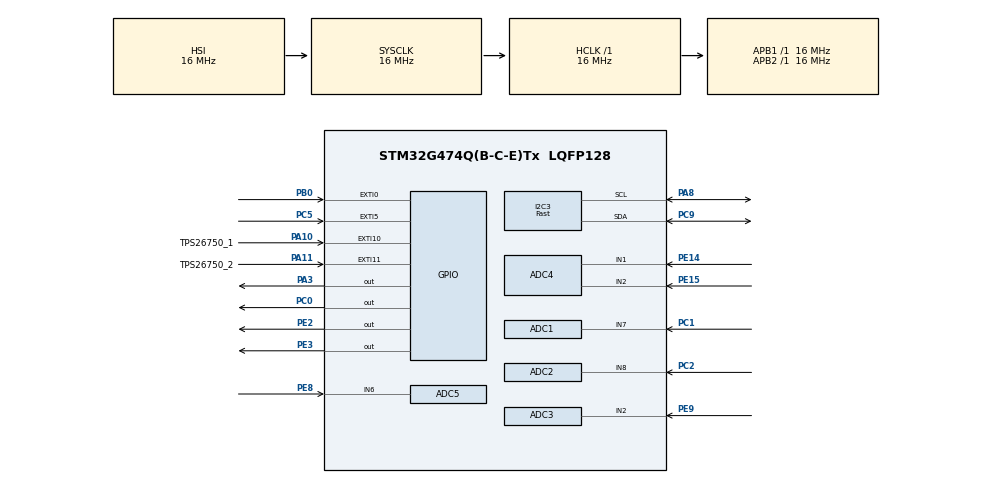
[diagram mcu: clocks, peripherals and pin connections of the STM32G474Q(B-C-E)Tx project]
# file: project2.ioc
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ADC1.Channel-0\#ChannelRegularConversion=ADC_CHANNEL_7
ADC1.NbrOfConversionFlag=1
ADC1.OffsetNumber-0\#ChannelRegularConversion=ADC_OFFSET_NONE
ADC1.Rank-0\#ChannelRegularConversion=1
ADC1.SamplingTime-0\#ChannelRegularConversion=ADC_SAMPLETIME_2CYCLES_5
ADC1.master=1
ADC2.Channel-0\#ChannelRegularConversion=ADC_CHANNEL_8
ADC2.NbrOfConversionFlag=1
ADC2.OffsetNumber-0\#ChannelRegularConversion=ADC_OFFSET_NONE
ADC2.Rank-0\#ChannelRegularConversion=1
ADC2.SamplingTime-0\#ChannelRegularConversion=ADC_SAMPLETIME_2CYCLES_5
ADC3.Channel-0\#ChannelRegularConversion=ADC_CHANNEL_2
ADC3.NbrOfConversionFlag=1
ADC3.OffsetNumber-0\#ChannelRegularConversion=ADC_OFFSET_NONE
ADC3.Rank-0\#ChannelRegularConversion=1
ADC3.SamplingTime-0\#ChannelRegularConversion=ADC_SAMPLETIME_2CYCLES_5
ADC3.master=1
ADC4.Channel-2\#ChannelRegularConversion=ADC_CHANNEL_1
ADC4.NbrOfConversionFlag=1
ADC4.OffsetNumber-2\#ChannelRegularConversion=ADC_OFFSET_NONE
ADC4.Rank-2\#ChannelRegularConversion=1
ADC4.SamplingTime-2\#ChannelRegularConversion=ADC_SAMPLETIME_2CYCLES_5
ADC4.SingleDiff-2\#ChannelRegularConversion=ADC_DIFFERENTIAL_ENDED
ADC5.Channel-0\#ChannelRegularConversion=ADC_CHANNEL_6
ADC5.NbrOfConversionFlag=1
ADC5.OffsetNumber-0\#ChannelRegularConversion=ADC_OFFSET_NONE
ADC5.Rank-0\#ChannelRegularConversion=1
ADC5.SamplingTime-0\#ChannelRegularConversion=ADC_SAMPLETIME_2CYCLES_5
I2C3.I2C_Speed_Mode=I2C_Fast
I2C3.Timing=0x00300617
Mcu.Family=STM32G4
Mcu.Name=STM32G474Q(B-C-E)Tx
Mcu.Package=LQFP128
NVIC.EXTI0_IRQn=true\:0\:0\:false\:false\:true\:true\:true\:true
NVIC.EXTI15_10_IRQn=true\:0\:0\:false\:false\:true\:true\:true\:true
NVIC.EXTI9_5_IRQn=true\:0\:0\:false\:false\:true\:true\:true\:true
NVIC.PriorityGroup=NVIC_PRIORITYGROUP_4
PA10.GPIO_Label=TPS26750_1
PA10.GPIO_ModeDefaultEXTI=GPIO_MODE_IT_FALLING
PA10.GPIO_PuPd=GPIO_PULLUP
PA10.Signal=GPXTI10
PA11.GPIO_Label=TPS26750_2
PA11.GPIO_ModeDefaultEXTI=GPIO_MODE_IT_FALLING
PA11.GPIO_PuPd=GPIO_PULLUP
PA11.Signal=GPXTI11
PA13.Mode=Trace_Asynchronous_SW
PA13.Signal=SYS_JTMS-SWDIO
PA14.Mode=Trace_Asynchronous_SW
PA14.Signal=SYS_JTCK-SWCLK
PA3.Signal=GPIO_Output
PA8.Mode=I2C
PA8.Signal=I2C3_SCL
PB0.GPIO_ModeDefaultEXTI=GPIO_MODE_IT_FALLING
PB0.GPIO_PuPd=GPIO_PULLUP
PB0.Signal=GPXTI0
PB3.Mode=Trace_Asynchronous_SW
PB3.Signal=SYS_JTDO-SWO
PB8-BOOT0.Signal=EVENTOUT
PC0.Signal=GPIO_Output
PC1.Mode=IN7-Single-Ended
PC1.Signal=ADC1_IN7
PC2.Mode=IN8-Single-Ended
PC2.Signal=ADC2_IN8
PC5.GPIO_ModeDefaultEXTI=GPIO_MODE_IT_FALLING
PC5.GPIO_PuPd=GPIO_PULLUP
PC5.Signal=GPXTI5
PC9.Mode=I2C
PC9.Signal=I2C3_SDA
PE14.Mode=IN1-Differential
PE14.Signal=ADC4_IN1
PE15.Mode=IN1-Differential
PE15.Signal=ADC4_IN2
PE2.Signal=GPIO_Output
PE3.Signal=GPIO_Output
PE8.Mode=IN6-Single-Ended
PE8.Signal=ADC5_IN6
PE9.Mode=IN2-Single-Ended
PE9.Signal=ADC3_IN2
PF0-OSC_IN.Mode=HSE-External-Oscillator
PF0-OSC_IN.Signal=RCC_OSC_IN
PF1-OSC_OUT.Mode=HSE-External-Oscillator
PF1-OSC_OUT.Signal=RCC_OSC_OUT
PG10-NRST.Signal=EVENTOUT
ProjectManager.HeapSize=0x200
ProjectManager.StackSize=0x400
ProjectManager.TargetToolchain=STM32CubeIDE
RCC.ADC12Freq_Value=16000000
RCC.ADC345Freq_Value=16000000
RCC.AHBFreq_Value=16000000
RCC.APB1Freq_Value=16000000
RCC.APB1TimFreq_Value=16000000
RCC.APB2Freq_Value=16000000
RCC.APB2TimFreq_Value=16000000
RCC.CortexFreq_Value=16000000
RCC.EXTERNAL_CLOCK_VALUE=12288000
RCC.HCLKFreq_Value=16000000
RCC.HSE_VALUE=8000000
RCC.HSI48_VALUE=48000000
RCC.HSI_VALUE=16000000
RCC.LSE_VALUE=32768
RCC.PLLN=18
RCC.SYSCLKFreq_VALUE=16000000
RCC.USBFreq_Value=144000000
RCC.VCOOutputFreq_Value=288000000
VP_SYS_VS_DBSignals.Mode=DisableDeadBatterySignals
board=custom

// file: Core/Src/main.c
/* USER CODE BEGIN Header */
/**
  ******************************************************************************
  * @file           : main.c
  * @brief          : Main program body
  ******************************************************************************
  * @attention
  *
  * Copyright (c) 2025 STMicroelectronics.
  * All rights reserved.
  *
  * This software is licensed under terms that can be found in the LICENSE file
  * in the root directory of this software component.
  * If no LICENSE file comes with this software, it is provided AS-IS.
  *
  ******************************************************************************
  */
/* USER CODE END Header */
#include "main.h"

/* USER CODE BEGIN Includes */
#include "stdio.h"              // For printf
#include "stm32g4xx_hal.h"      // For HAL functions
#include <stdbool.h>            // For boolean type
#include "TPS_low_reg_bin.h"    // For TPS26750 patch data
#include <string.h>             // For memcpy
#include <stdarg.h>             // For va_list, va_start, va_end
#include "pd_handler.h"         // For PD handling functions
#include <stdint.h>             // For uint8_t, uint32_t types

/* USER CODE END Includes */

/* USER CODE BEGIN PTD */
extern const char tps25750x_lowRegion_i2c_array[];  // TPS26750 patch data
extern int gSizeLowRegionArray;                     // Size of patch data array
/* USER CODE END PTD */

ADC_HandleTypeDef hadc1;
ADC_HandleTypeDef hadc2;
ADC_HandleTypeDef hadc3;
ADC_HandleTypeDef hadc4;
ADC_HandleTypeDef hadc5;

I2C_HandleTypeDef hi2c3;

/* USER CODE BEGIN PV */

/* Buffer for I2C data */
uint8_t i2c_buf[2];

/* USER CODE END PV */

void SystemClock_Config(void);
static void MX_GPIO_Init(void);
static void MX_ADC4_Init(void);
static void MX_I2C3_Init(void);
static void MX_ADC1_Init(void);
static void MX_ADC2_Init(void);
static void MX_ADC3_Init(void);
static void MX_ADC5_Init(void);
/* USER CODE BEGIN PFP */

//swo initialization
void SWO_Init(void)
{
  CoreDebug->DEMCR |= CoreDebug_DEMCR_TRCENA_Msk;
  ITM->LAR  = 0xC5ACCE55;
  ITM->TCR  = ITM_TCR_ITMENA_Msk | ITM_TCR_TSENA_Msk | ITM_TCR_SYNCENA_Msk | ITM_TCR_TraceBusID_Msk;
  ITM->TER  = 1;
}

//swo printf function
int _write(int file, char *ptr, int len) {
    for (int i = 0; i < len; i++) {
        ITM_SendChar(*ptr++);
    }
    return len;
}

// I2C3 scan function
void I2C3_Scan(void)
{
    printf("Scanning I2C3...\r\n");

    for (uint8_t addr = 1; addr < 127; addr++)
    {
        uint8_t addr_8bit = addr << 1;  // STM32 HAL expects 8-bit address

        if (HAL_I2C_IsDeviceReady(&hi2c3, addr_8bit, 3, 100) == HAL_OK)
        {
            printf("Found device at 0x%02X (8-bit: 0x%02X)\r\n", addr, addr_8bit);
        }
    }

    printf("Scan complete.\r\n");
}

/* USER CODE END PFP */

/* USER CODE BEGIN 0 */
// Print TX Source PDOs from register 0x32
// shows what PDOs are available for the sink to choose from
void print_tx_source_pdos(uint8_t pdAddr)
{
    uint8_t dev = pdAddr << 1;
    uint8_t  cmd = 23;
    uint8_t  raw[1 + 23]; // [0]=length prefix, [1..23]=payload
    uint8_t* d = &raw[1]; // d[0]..d[22]

    // 1) Ask for 23 bytes
    HAL_I2C_Mem_Write(&hi2c3, dev, 0x32,
                      I2C_MEMADD_SIZE_8BIT,
                      &cmd, 1, HAL_MAX_DELAY);

    // 2) Read back prefix + 23 bytes
    HAL_I2C_Mem_Read(&hi2c3, dev, 0x32,
                     I2C_MEMADD_SIZE_8BIT,
                     raw, sizeof(raw), HAL_MAX_DELAY);

    // 3) Decode Number Valid PDOs = bits 2..0 of byte#1
    uint8_t num_pdos = d[0] & 0x07;
    printf("TX Source: %u valid PDO(s)\n", num_pdos);

    // 4) Extract & print PDO1–PDO5 (each 4 bytes, little-endian)
    for (int i = 0; i < 5; i++) {
        // Each PDO_i lives in bits [24+32*(i) … 55+32*(i)] ⇒ raw bytes d[3+4*i]..d[6+4*i]
        uint32_t pdo = (uint32_t)d[3 + 4*i]
                     | (uint32_t)d[4 + 4*i] << 8
                     | (uint32_t)d[5 + 4*i] << 16
                     | (uint32_t)d[6 + 4*i] << 24;
        printf("  PDO #%d = 0x%08lX\n", i+1, (unsigned long)pdo);
    }
}

/* ---------------------------------------------------------------------------*/
// Print active PDO contract (48 bits) from register 0x34
// for debugging purposes
void print_active_pdo_contract(uint8_t pdAddr)
{
    uint8_t  dev = pdAddr << 1;
    uint8_t  cmd = 6;          // 6 data bytes (bits 47:0)
    uint8_t  raw[7];           // [0]=length prefix, [1..6]=data bytes
    uint64_t reg = 0;

    // 1) send length prefix
    HAL_I2C_Mem_Write(&hi2c3, dev, 0x34, I2C_MEMADD_SIZE_8BIT, &cmd, 1, HAL_MAX_DELAY);

    // 2) read back prefix + 6 data bytes
    HAL_I2C_Mem_Read(&hi2c3, dev, 0x34, I2C_MEMADD_SIZE_8BIT, raw, 7, HAL_MAX_DELAY);

    // 3) assemble into a 48-bit (in a 64-bit) register value
    for (int i = 0; i < 6; i++) {
        reg |= (uint64_t)raw[1 + i] << (8 * i);
    }

    // 4) extract fields
    uint16_t first_pdo_ctrl = (reg >> 32) & 0x03FF;         // bits 41:32
    uint32_t active_pdo     = (uint32_t)(reg & 0xFFFFFFFF); // bits 31:0

    // 5) print
    printf("Active PDO Contract @0x34:\n");
    printf("  First PDO Control Bits = 0x%03X  (%u)\n", first_pdo_ctrl, first_pdo_ctrl);
    printf("  Active PDO = 0x%08lX\n",(unsigned long)active_pdo);
}
/* ---------------------------------------------------------------------------*/
//for masking interrupts in INT_MASK1 register (11 bytes - prefix)
//used for debugging purposes
void TPS26750_MaskInterrupts(uint8_t pdAddr)
{
    uint8_t devAddr = pdAddr << 1;

    // INT_MASK1 is 88 bits (11 bytes) long + 1 prefix byte;
    uint8_t data[12] = { 0 };
    data[0] = 11;                // total mask-bytes to follow
    data[1] = (1U << 3);         // enable interrupt bit 3  (Plug Insert/Removal)
    data[2] = (1U << (13 - 8));  // enable interrupt bit 13 (New Contract as Provider)
    data[6] = (1U << (42 - 40)); // enable interrupt bit 42 (Sink Transition Completed)

    // Write INT_MASK1 (offset = 0x16)
    HAL_I2C_Mem_Write(&hi2c3, devAddr,0x16,I2C_MEMADD_SIZE_8BIT,data,sizeof(data),100);
}
/* ---------------------------------------------------------------------------*/
// Clear all bits in INT_EVENT1 register (11 bytes - prefix)
void clear_all_INT_EVENT1_bits(uint8_t i2c_addr)
{
    uint8_t buf[12];
    buf[0] = 11;  // Length prefix: 11 data bytes to follow

    // Set all bits to 1 — this clears all events in INT_EVENT1
    for (int i = 1; i <= 11; ++i) {
        buf[i] = 0xFF;
    }

    HAL_I2C_Mem_Write(&hi2c3, i2c_addr << 1, 0x18, I2C_MEMADD_SIZE_8BIT, buf, sizeof(buf), 100);
	printf("Cleared all INT_EVENT1 bits for device 0x%02X\n", i2c_addr);

}
/* ---------------------------------------------------------------------------*/
// Print raw bits of INT_EVENT1 register (11 bytes - prefix)
//used for debugging purposes
void print_INT_EVENT1_raw_bits(const uint8_t bits_with_prefix[11])
{
    printf("INT_EVENT1 bits: ");
    const uint8_t *bits = &bits_with_prefix[1];  // Skip the first byte (length prefix)
    for (int byte = 10; byte >= 0; --byte) {
        for (int bit = 7; bit >= 0; --bit) {
            printf("%c", (bits[byte] & (1 << bit)) ? '1' : '0');
        }
    }
    printf("\n");
}

/* ---------------------------------------------------------------------------*/
// Interrupt handler for USB events
// This function is called when an interrupt occurs on GPIO pins 10 or 11
void HAL_GPIO_EXTI_Callback(uint16_t GPIO_Pin)
{

    uint8_t buf[5];           // For writing length
    uint8_t raw[5];           // Includes prefix + 4 data bytes
    uint8_t data[4];          // Final parsed register data
    uint8_t int_event1_raw[12]; // 1 prefix + 11 bytes data
    uint32_t int_event1 = 0;
    uint32_t power_status = 0;
    //printf("EXTI fired: GPIO_Pin = %u\n", GPIO_Pin);

    if (GPIO_Pin == GPIO_PIN_10)
    {
    	//handle_pd1_event();
    	// Read INT_EVENT1_RAW (0x14), 11 bytes + prefix
		buf[0] = 11;
		HAL_I2C_Mem_Write(&hi2c3, 0x21 << 1, 0x14, I2C_MEMADD_SIZE_8BIT, buf, 1, 100);
		HAL_I2C_Mem_Read(&hi2c3, 0x21 << 1, 0x14, I2C_MEMADD_SIZE_8BIT, int_event1_raw, 12, 100);
		print_INT_EVENT1_raw_bits(&int_event1_raw[1]);
		//read_pd_hard_reset_reason(0x23);  // For TPS26750_2

		// Read INT_EVENT1 (0x14)
		buf[0] = 4;
		HAL_I2C_Mem_Write(&hi2c3, 0x21 << 1, 0x14, I2C_MEMADD_SIZE_8BIT, buf, 1, 100);
		HAL_I2C_Mem_Read(&hi2c3, 0x21 << 1, 0x14, I2C_MEMADD_SIZE_8BIT, raw, 5, 100);
		memcpy(data, &raw[1], 4);
		int_event1 = data[0] | (data[1] << 8) | (data[2] << 16) | (data[3] << 24);

		// Read STATUS (0x1A)
		buf[0] = 4;
		HAL_I2C_Mem_Write(&hi2c3, 0x21 << 1, 0x1A, I2C_MEMADD_SIZE_8BIT, buf, 1, 100);
		HAL_I2C_Mem_Read(&hi2c3, 0x21 << 1, 0x1A, I2C_MEMADD_SIZE_8BIT, raw, 5, 100);
		memcpy(data, &raw[1], 4);
		power_status = data[0] | (data[1] << 8) | (data[2] << 16) | (data[3] << 24);

		if ((int_event1 & (1 << 5))||(power_status & (1 << 0)))
		{
			printf("TPS26750_1: Sink Transition completed\n");
			handle_pd1_event();
			clear_all_INT_EVENT1_bits(0x21);
		}
		else if ((data[0] & 0x01) == 0)
		{

			printf("TPS26750_1: Plug Disconnected\n");
			uint8_t reg06;
			HAL_I2C_Mem_Read(&hi2c3, 0x75 << 1, 0x06, I2C_MEMADD_SIZE_8BIT, &reg06, 1, 100);
			reg06 &= ~0x80;
			HAL_I2C_Mem_Write(&hi2c3, 0x75 << 1, 0x06, I2C_MEMADD_SIZE_8BIT, &reg06, 1, 100);
			clear_all_INT_EVENT1_bits(0x21);
		}

    }
    else if (GPIO_Pin == GPIO_PIN_11)
    {
    	//handle_pd2_event();
        // Read INT_EVENT1_RAW (0x14), 11 bytes + prefix
        buf[0] = 11;
        HAL_I2C_Mem_Write(&hi2c3, 0x23 << 1, 0x14, I2C_MEMADD_SIZE_8BIT, buf, 1, 100);
        HAL_I2C_Mem_Read(&hi2c3, 0x23 << 1, 0x14, I2C_MEMADD_SIZE_8BIT, int_event1_raw, 12, 100);
        print_INT_EVENT1_raw_bits(&int_event1_raw[1]);
        //read_pd_hard_reset_reason(0x23);  // For TPS26750_2

        // Read INT_EVENT1 (0x14)
        buf[0] = 4;
        HAL_I2C_Mem_Write(&hi2c3, 0x23 << 1, 0x14, I2C_MEMADD_SIZE_8BIT, buf, 1, 100);
        HAL_I2C_Mem_Read(&hi2c3, 0x23 << 1, 0x14, I2C_MEMADD_SIZE_8BIT, raw, 5, 100);
        memcpy(data, &raw[1], 4);
        int_event1 = data[0] | (data[1] << 8) | (data[2] << 16) | (data[3] << 24);

        // Read STATUS (0x1A)
        buf[0] = 4;
        HAL_I2C_Mem_Write(&hi2c3, 0x23 << 1, 0x1A, I2C_MEMADD_SIZE_8BIT, buf, 1, 100);
        HAL_I2C_Mem_Read(&hi2c3, 0x23 << 1, 0x1A, I2C_MEMADD_SIZE_8BIT, raw, 5, 100);
        memcpy(data, &raw[1], 4);
        power_status = data[0] | (data[1] << 8) | (data[2] << 16) | (data[3] << 24);

        if ((int_event1 & (1 << 5)) || (power_status & (1 << 0)))
        {
            printf("TPS26750_2: Plug 2 connected\n");
            handle_pd2_event();
            clear_all_INT_EVENT1_bits(0x23);

        }
        else if ((data[0] & 0x01) == 0)
        {
            printf("TPS26750_2: Plug Disconnected\n");
            uint8_t reg06;
            HAL_I2C_Mem_Read(&hi2c3, 0x74 << 1, 0x06, I2C_MEMADD_SIZE_8BIT, &reg06, 1, 100);
            reg06 &= ~0x80;
            HAL_I2C_Mem_Write(&hi2c3, 0x74 << 1, 0x06, I2C_MEMADD_SIZE_8BIT, &reg06, 1, 100);
            clear_all_INT_EVENT1_bits(0x23);
        }
    }
}

/* ---------------------------------------------------------------------------*/
void mask_all_interrupts(uint8_t i2c_addr)
{
	 uint8_t buf[5];
	    buf[0] = 4;  // Length prefix
	    buf[1] = 0x00;
	    buf[2] = 0x00;
	    buf[3] = 0x00;
	    buf[4] = 0x00;

	    HAL_I2C_Mem_Write(&hi2c3, i2c_addr << 1, 0x16, I2C_MEMADD_SIZE_8BIT, buf, sizeof(buf), 100);
	   // printf("All interrupts masked on device 0x%02X\n", i2c_addr);

	    // Read INT_MASK1 to confirm it was set to 0
	    buf[0] = 4;
	    HAL_I2C_Mem_Write(&hi2c3, i2c_addr << 1, 0x16, I2C_MEMADD_SIZE_8BIT, buf, 1, 100);

	    uint8_t raw[5];
	    HAL_I2C_Mem_Read(&hi2c3, i2c_addr << 1, 0x16, I2C_MEMADD_SIZE_8BIT, raw, 5, 100);

	    //printf("INT_MASK1 for 0x%02X: %02X %02X %02X %02X\n", i2c_addr, raw[1], raw[2], raw[3], raw[4]);  // Skip prefix
	}
/* ---------------------------------------------------------------------------*/
void unmask_all_interrupts(uint8_t i2c_addr)
{
	 uint8_t buf[5];
	    buf[0] = 4;  // Length prefix
	    buf[1] = 0x01;
	    buf[2] = 0x01;
	    buf[3] = 0x01;
	    buf[4] = 0x01;

	    HAL_I2C_Mem_Write(&hi2c3, i2c_addr << 1, 0x16, I2C_MEMADD_SIZE_8BIT, buf, sizeof(buf), 100);
	    //printf("All interrupts masked on device 0x%02X\n", i2c_addr);

	    // Read INT_MASK1 to confirm it was set to 0
	    buf[0] = 4;
	    HAL_I2C_Mem_Write(&hi2c3, i2c_addr << 1, 0x16, I2C_MEMADD_SIZE_8BIT, buf, 1, 100);

	    uint8_t raw[5];
	    HAL_I2C_Mem_Read(&hi2c3, i2c_addr << 1, 0x16, I2C_MEMADD_SIZE_8BIT, raw, 5, 100);

	    //printf("INT_MASK1 for 0x%02X: %02X %02X %02X %02X\n",i2c_addr, raw[1], raw[2], raw[3], raw[4]);  // Skip prefix
	}
/* ---------------------------------------------------------------------------*/

void Read_TPS_Mode(uint8_t address)
{
    uint8_t mode[4] = {0};
    HAL_StatusTypeDef ret;

    printf("Reading MODE register from TPS at 0x%02X...\r\n", address);

    ret = HAL_I2C_Mem_Read(&hi2c3, (address << 1), 0x03, I2C_MEMADD_SIZE_8BIT, mode, 5, 100);

    if (ret == HAL_OK)
    {
        printf("TPS Mode = %c%c%c%c\r\n", mode[1], mode[2], mode[3], mode[4]);
    }
    else
    {
        printf("Failed to read MODE register at 0x%02X (I2C error)\r\n", address);
    }
}

/* ---------------------------------------------------------------------------*/

bool Upload_TPS26750_Patch(I2C_HandleTypeDef *hi2c, uint8_t dev7bitAddr, const uint8_t *patch_data, uint32_t patch_size)
{
    uint8_t devAddr = dev7bitAddr << 1; // 8-bit address
    uint8_t data1[7];
    uint8_t cmd1[5];
    uint32_t timeout_ms;
    uint8_t patch_slave_addr = 0x50 << 1; // 8-bit
    //uint32_t offset = 0;

    printf("[PATCH] Starting patch upload sequence for 0x%02X...\n", dev7bitAddr);

    // -------- Step 1: Start Patch Burst Mode --------
    data1[0] = 6;  // Length of following data
    data1[1] = (uint8_t)(patch_size & 0xFF);
    data1[2] = (uint8_t)((patch_size >> 8) & 0xFF);
    data1[3] = (uint8_t)((patch_size >> 16) & 0xFF);
    data1[4] = (uint8_t)((patch_size >> 24) & 0xFF);
    data1[5] = 0x50;   // Patch target address
    data1[6] = 0x64;   // 5 seconds timeout

    if (HAL_I2C_Mem_Write(hi2c, devAddr, 0x09, I2C_MEMADD_SIZE_8BIT, data1, sizeof(data1), HAL_MAX_DELAY) != HAL_OK)
    {
        printf("[PATCH] Failed writing DATA1\n");
        return false;
    }

    HAL_I2C_Mem_Read(hi2c, devAddr, 0x09, I2C_MEMADD_SIZE_8BIT, data1, sizeof(data1), HAL_MAX_DELAY);
    printf("[PATCH] DATA1 = %02X %02X %02X %02X %02X %02X %02X\n", data1[0], data1[1], data1[2], data1[3], data1[4], data1[5], data1[6]);

    cmd1[0] = 4;
    cmd1[1] = 'P';
    cmd1[2] = 'B';
    cmd1[3] = 'M';
    cmd1[4] = 's';
    if (HAL_I2C_Mem_Write(hi2c, devAddr, 0x08, I2C_MEMADD_SIZE_8BIT, cmd1, sizeof(cmd1), HAL_MAX_DELAY) != HAL_OK)
    {
        printf("[PATCH] Failed sending PBMs\n");
        return false;
    }

    HAL_I2C_Mem_Read(hi2c, devAddr, 0x08, I2C_MEMADD_SIZE_8BIT, cmd1, sizeof(cmd1), HAL_MAX_DELAY);
    printf("[PATCH] CMD1 = %02X %c%c%c%c\n", cmd1[0], cmd1[1], cmd1[2], cmd1[3], cmd1[4]);

    // -------- Step 2: Wait for Patch Start Status --------
    timeout_ms = 500;
    uint32_t elapsed = 0;
    uint8_t patch_status[7];
    do {
        HAL_I2C_Mem_Read(hi2c, devAddr, 0x09, I2C_MEMADD_SIZE_8BIT, patch_status, sizeof(patch_status), HAL_MAX_DELAY);
        printf("[PATCH] Output DATA1 = %02X %02X %02X %02X %02X %02X %02X\n", patch_status[0], patch_status[1], patch_status[2], patch_status[3], patch_status[4], patch_status[5], patch_status[6]);
        HAL_Delay(5);
        elapsed += 5;
    } while ((patch_status[1] != 0x00) && (elapsed < timeout_ms));

    if (patch_status[1] != 0x00)
    {
        printf("[ERROR] PatchStartStatus = 0x%02X\n", patch_status[1]);
        return false;
    }

    printf("[PATCH] PBMs acknowledged. Uploading patch to 0x50...\n");

    // -------- Step 3: Write Patch Data to 0x50 in 4 equal bursts --------
    #define TOTAL_BURSTS 4
    uint32_t chunk_size = patch_size / TOTAL_BURSTS;
    uint32_t offset = 0;

    for (int burst = 0; burst < TOTAL_BURSTS; burst++)
    {
        // On last burst, send all remaining data in case of rounding
        uint32_t this_chunk = (burst < TOTAL_BURSTS - 1) ? chunk_size : (patch_size - offset);

        if (HAL_I2C_Master_Transmit(hi2c, patch_slave_addr, (uint8_t *)(patch_data + offset), this_chunk, HAL_MAX_DELAY) != HAL_OK)
        {
            printf("[ERROR] Failed patch write (burst #%d at offset %lu)\n", burst + 1, (unsigned long)offset);
            printf("[ERROR] Sending PBMe...\n");
                    cmd1[0] = 4; cmd1[1] = 'P'; cmd1[2] = 'B'; cmd1[3] = 'M'; cmd1[4] = 'e';
                    HAL_I2C_Mem_Write(hi2c, devAddr, 0x08, I2C_MEMADD_SIZE_8BIT, cmd1, sizeof(cmd1), HAL_MAX_DELAY);
                    printf("[PATCH] PBMe sent, patch upload sequence stopped!\n");
                    HAL_I2C_Mem_Read(hi2c, devAddr, 0x09, I2C_MEMADD_SIZE_8BIT, data1, sizeof(data1), HAL_MAX_DELAY);
                    printf("[PATCH] DATA1 = %02X %02X %02X %02X %02X %02X %02X\n", data1[0], data1[1], data1[2], data1[3], data1[4], data1[5], data1[6]);
        }

        printf("[PATCH] Burst #%d sent: %lu bytes\n", burst + 1, (unsigned long)this_chunk);
        offset += this_chunk;

    }
    // -------- Step 3: Write Patch Data to 0x50 --------
    printf("[PATCH] Patch data written. Sending PBMc...\n");
    HAL_Delay(1);
    // -------- Step 4: Patch Burst Mode Complete (PBMc) --------
    cmd1[0] = 4; cmd1[1] = 'P'; cmd1[2] = 'B'; cmd1[3] = 'M'; cmd1[4] = 'c';
    if (HAL_I2C_Mem_Write(hi2c, devAddr, 0x08, I2C_MEMADD_SIZE_8BIT, cmd1, sizeof(cmd1), HAL_MAX_DELAY) != HAL_OK)
    {
        printf("[ERROR] Failed sending PBMc\n");
        return false;
    }

    elapsed = 0;
    do {
        HAL_I2C_Mem_Read(hi2c, devAddr, 0x08, I2C_MEMADD_SIZE_8BIT, cmd1, sizeof(cmd1), HAL_MAX_DELAY);
        printf("[PATCH] Output CMD1 = %02X %c%c%c%c\n", cmd1[0], cmd1[1], cmd1[2], cmd1[3], cmd1[4]);
        if (cmd1[1] == 0 && cmd1[2] == 0 && cmd1[3] == 0 && cmd1[4] == 0)
            break;
        HAL_Delay(20);
        elapsed += 20;
    } while (elapsed < timeout_ms);

    if (elapsed >= timeout_ms)
    {
        printf("[ERROR] PBMc timeout\n");
        return false;
    }

    //----------Step 5: Read data1 -------------------------

    HAL_I2C_Mem_Read(hi2c, devAddr, 0x09, I2C_MEMADD_SIZE_8BIT, data1, sizeof(data1), HAL_MAX_DELAY);
    printf("[PATCH] DATA1 = %02X %02X %02X %02X %02X %02X %02X\n", data1[0], data1[1], data1[2], data1[3], data1[4], data1[5], data1[6]);
    return true;
}

/* ---------------------------------------------------------------------------*/

/*
//TPS55288 fault interrupt
void HAL_GPIO_EXTI_Callback(uint16_t GPIO_Pin)
{
    uint8_t fault;
    uint8_t addr;
    const char* label;

    if (GPIO_Pin == GPIO_PIN_5)  // PC5 → TPS55288 at address 0x75
    {
        addr = 0x75 << 1;
        label = "TPS55288_1 (PC5)";
    }
    else if (GPIO_Pin == GPIO_PIN_0)  // PB0 → TPS55288 at address 0x74
    {
        addr = 0x74 << 1;
        label = "TPS55288_2 (PB0)";
    }
    else
    {
        return; // unknown pin, ignore
    }

    // Read latched fault status
    if (HAL_I2C_Mem_Read(&hi2c3, addr, 0x0D, I2C_MEMADD_SIZE_8BIT, &fault, 1, 100) != HAL_OK) {
        printf("❌ Failed to read fault status from %s\n", label);
        return;
    }

    printf("%s Fault Detected (0x0D): 0x%02X\n", label, fault);

    if (fault & (1 << 7)) printf(" → VOUT OVP\n");
    if (fault & (1 << 6)) printf(" → VOUT UVP\n");
    if (fault & (1 << 5)) printf(" → IOUT OCP\n");
    if (fault & (1 << 4)) printf(" → Thermal Shutdown\n");
    if (fault & (1 << 3)) printf(" → VIN UVP\n");
    if (fault & (1 << 2)) printf(" → VOUT < 0.3V\n");
    if (fault & (1 << 1)) printf(" → Startup Fault\n");

    // Optional: Clear latched fault bits
    uint8_t clear = 0x00;
    HAL_I2C_Mem_Write(&hi2c3, addr, 0x0D, I2C_MEMADD_SIZE_8BIT, &clear, 1, 100);
}
*/

/* ---------------------------------------------------------------------------*/

void read_and_print_INT_EVENT1(uint8_t i2c_addr)
{
    uint8_t buf[1] = {11};          // Request to read 11 data bytes
    uint8_t raw[12];                // 1 prefix + 11 data bytes
    uint8_t result[11];             // Final 11-byte register content

    // Write length prefix to register 0x14
    if (HAL_I2C_Mem_Write(&hi2c3, i2c_addr << 1, 0x14,
                          I2C_MEMADD_SIZE_8BIT, buf, 1, 100) != HAL_OK)
    {
        printf("Failed to write INT_EVENT1 read length to 0x%02X\n", i2c_addr);
        return;
    }

    // Read 1 prefix + 11 actual data bytes
    if (HAL_I2C_Mem_Read(&hi2c3, i2c_addr << 1, 0x14,
                         I2C_MEMADD_SIZE_8BIT, raw, 12, 100) != HAL_OK)
    {
        printf("Failed to read INT_EVENT1 from 0x%02X\n", i2c_addr);
        return;
    }

    memcpy(result, &raw[1], 11);  // Skip prefix byte

    // Print each byte as hex
    printf("INT_EVENT1 [0x14] from 0x%02X: ", i2c_addr);
    for (int i = 10; i >= 0; --i) {
        printf("%02X ", result[i]);
    }
    printf("\n");

    // Print full binary representation
    printf("Bits: ");
    for (int i = 10; i >= 0; --i) {
        for (int b = 7; b >= 0; --b) {
            printf("%c", (result[i] & (1 << b)) ? '1' : '0');
        }
    }
    printf("\n");
}
/* ---------------------------------------------------------------------------*/

/* USER CODE END 0 */

int main(void)
{

  /* MCU Configuration--------------------------------------------------------*/

  /* Reset of all peripherals, Initializes the Flash interface and the Systick. */
  HAL_Init();

  /* USER CODE BEGIN Init */
  SWO_Init();

  /* USER CODE END Init */

  /* Configure the system clock */
  SystemClock_Config();

  /* Initialize all configured peripherals */
  MX_GPIO_Init();
  MX_ADC4_Init();
  MX_I2C3_Init();
  MX_ADC1_Init();
  MX_ADC2_Init();
  MX_ADC3_Init();
  MX_ADC5_Init();
  /* USER CODE BEGIN 2 */
  HAL_Delay(10);
  //I2C3_Scan();

  Read_TPS_Mode(0x21);  // for first TPS
  Read_TPS_Mode(0x23);  // for second TPS
  read_and_print_INT_EVENT1(0x21);  // for TPS26750_1
  read_and_print_INT_EVENT1(0x23);  // for TPS26750_2
  Upload_TPS26750_Patch(&hi2c3, 0x21, (const uint8_t *)tps25750x_lowRegion_i2c_array, gSizeLowRegionArray);
  Upload_TPS26750_Patch(&hi2c3, 0x23, (const uint8_t *)tps25750x_lowRegion_i2c_array, gSizeLowRegionArray);
  HAL_Delay(10);
  Read_TPS_Mode(0x21);  // for first TPS
  Read_TPS_Mode(0x23);  // for second TPS
  //mask_all_interrupts(0x21);  // TPS26750_1
  //mask_all_interrupts(0x23);  // TPS26750_2
  //TPS26750_MaskInterrupts(0x21);
  //TPS26750_MaskInterrupts(0x23);
  clear_all_INT_EVENT1_bits(0x21);  // Clear for TPS26750_1
  clear_all_INT_EVENT1_bits(0x23);  // Clear for TPS26750_2
  //read_and_print_INT_EVENT1(0x21);  // for TPS26750_1
  //read_and_print_INT_EVENT1(0x23);  // for TPS26750_2
  //clear_all_INT_EVENT1_bits(0x21);  // Clear for TPS26750_1
  //clear_all_INT_EVENT1_bits(0x23);  // Clear for TPS26750_2
  print_tx_source_pdos(0x21);
  print_tx_source_pdos(0x23);

  /* USER CODE END 2 */

  /* Infinite loop */
   while (1)
  {
    HAL_Delay(1000);
  }
}

void SystemClock_Config(void)
{
  RCC_OscInitTypeDef RCC_OscInitStruct = {0};
  RCC_ClkInitTypeDef RCC_ClkInitStruct = {0};

  /** Configure the main internal regulator output voltage
  */
  HAL_PWREx_ControlVoltageScaling(PWR_REGULATOR_VOLTAGE_SCALE1);

  /** Initializes the RCC Oscillators according to the specified parameters
  * in the RCC_OscInitTypeDef structure.
  */
  RCC_OscInitStruct.OscillatorType = RCC_OSCILLATORTYPE_HSI;
  RCC_OscInitStruct.HSIState = RCC_HSI_ON;
  RCC_OscInitStruct.HSICalibrationValue = RCC_HSICALIBRATION_DEFAULT;
  RCC_OscInitStruct.PLL.PLLState = RCC_PLL_NONE;
  if (HAL_RCC_OscConfig(&RCC_OscInitStruct) != HAL_OK)
  {
    Error_Handler();
  }

  /** Initializes the CPU, AHB and APB buses clocks
  */
  RCC_ClkInitStruct.ClockType = RCC_CLOCKTYPE_HCLK|RCC_CLOCKTYPE_SYSCLK
                              |RCC_CLOCKTYPE_PCLK1|RCC_CLOCKTYPE_PCLK2;
  RCC_ClkInitStruct.SYSCLKSource = RCC_SYSCLKSOURCE_HSI;
  RCC_ClkInitStruct.AHBCLKDivider = RCC_SYSCLK_DIV1;
  RCC_ClkInitStruct.APB1CLKDivider = RCC_HCLK_DIV1;
  RCC_ClkInitStruct.APB2CLKDivider = RCC_HCLK_DIV1;

  if (HAL_RCC_ClockConfig(&RCC_ClkInitStruct, FLASH_LATENCY_0) != HAL_OK)
  {
    Error_Handler();
  }
}

static void MX_ADC1_Init(void)
{

  ADC_MultiModeTypeDef multimode = {0};
  ADC_ChannelConfTypeDef sConfig = {0};

  /** Common config
  */
  hadc1.Instance = ADC1;
  hadc1.Init.ClockPrescaler = ADC_CLOCK_SYNC_PCLK_DIV2;
  hadc1.Init.Resolution = ADC_RESOLUTION_12B;
  hadc1.Init.DataAlign = ADC_DATAALIGN_RIGHT;
  hadc1.Init.GainCompensation = 0;
  hadc1.Init.ScanConvMode = ADC_SCAN_DISABLE;
  hadc1.Init.EOCSelection = ADC_EOC_SINGLE_CONV;
  hadc1.Init.LowPowerAutoWait = DISABLE;
  hadc1.Init.ContinuousConvMode = DISABLE;
  hadc1.Init.NbrOfConversion = 1;
  hadc1.Init.DiscontinuousConvMode = DISABLE;
  hadc1.Init.ExternalTrigConv = ADC_SOFTWARE_START;
  hadc1.Init.ExternalTrigConvEdge = ADC_EXTERNALTRIGCONVEDGE_NONE;
  hadc1.Init.DMAContinuousRequests = DISABLE;
  hadc1.Init.Overrun = ADC_OVR_DATA_PRESERVED;
  hadc1.Init.OversamplingMode = DISABLE;
  if (HAL_ADC_Init(&hadc1) != HAL_OK)
  {
    Error_Handler();
  }

  /** Configure the ADC multi-mode
  */
  multimode.Mode = ADC_MODE_INDEPENDENT;
  if (HAL_ADCEx_MultiModeConfigChannel(&hadc1, &multimode) != HAL_OK)
  {
    Error_Handler();
  }

  /** Configure Regular Channel
  */
  sConfig.Channel = ADC_CHANNEL_7;
  sConfig.Rank = ADC_REGULAR_RANK_1;
  sConfig.SamplingTime = ADC_SAMPLETIME_2CYCLES_5;
  sConfig.SingleDiff = ADC_SINGLE_ENDED;
  sConfig.OffsetNumber = ADC_OFFSET_NONE;
  sConfig.Offset = 0;
  if (HAL_ADC_ConfigChannel(&hadc1, &sConfig) != HAL_OK)
  {
    Error_Handler();
  }

}

static void MX_ADC2_Init(void)
{

  ADC_ChannelConfTypeDef sConfig = {0};

  /** Common config
  */
  hadc2.Instance = ADC2;
  hadc2.Init.ClockPrescaler = ADC_CLOCK_SYNC_PCLK_DIV2;
  hadc2.Init.Resolution = ADC_RESOLUTION_12B;
  hadc2.Init.DataAlign = ADC_DATAALIGN_RIGHT;
  hadc2.Init.GainCompensation = 0;
  hadc2.Init.ScanConvMode = ADC_SCAN_DISABLE;
  hadc2.Init.EOCSelection = ADC_EOC_SINGLE_CONV;
  hadc2.Init.LowPowerAutoWait = DISABLE;
  hadc2.Init.ContinuousConvMode = DISABLE;
  hadc2.Init.NbrOfConversion = 1;
  hadc2.Init.DiscontinuousConvMode = DISABLE;
  hadc2.Init.ExternalTrigConv = ADC_SOFTWARE_START;
  hadc2.Init.ExternalTrigConvEdge = ADC_EXTERNALTRIGCONVEDGE_NONE;
  hadc2.Init.DMAContinuousRequests = DISABLE;
  hadc2.Init.Overrun = ADC_OVR_DATA_PRESERVED;
  hadc2.Init.OversamplingMode = DISABLE;
  if (HAL_ADC_Init(&hadc2) != HAL_OK)
  {
    Error_Handler();
  }

  /** Configure Regular Channel
  */
  sConfig.Channel = ADC_CHANNEL_8;
  sConfig.Rank = ADC_REGULAR_RANK_1;
  sConfig.SamplingTime = ADC_SAMPLETIME_2CYCLES_5;
  sConfig.SingleDiff = ADC_SINGLE_ENDED;
  sConfig.OffsetNumber = ADC_OFFSET_NONE;
  sConfig.Offset = 0;
  if (HAL_ADC_ConfigChannel(&hadc2, &sConfig) != HAL_OK)
  {
    Error_Handler();
  }

}

static void MX_ADC3_Init(void)
{

  ADC_MultiModeTypeDef multimode = {0};
  ADC_ChannelConfTypeDef sConfig = {0};

  /** Common config
  */
  hadc3.Instance = ADC3;
  hadc3.Init.ClockPrescaler = ADC_CLOCK_SYNC_PCLK_DIV2;
  hadc3.Init.Resolution = ADC_RESOLUTION_12B;
  hadc3.Init.DataAlign = ADC_DATAALIGN_RIGHT;
  hadc3.Init.GainCompensation = 0;
  hadc3.Init.ScanConvMode = ADC_SCAN_DISABLE;
  hadc3.Init.EOCSelection = ADC_EOC_SINGLE_CONV;
  hadc3.Init.LowPowerAutoWait = DISABLE;
  hadc3.Init.ContinuousConvMode = DISABLE;
  hadc3.Init.NbrOfConversion = 1;
  hadc3.Init.DiscontinuousConvMode = DISABLE;
  hadc3.Init.ExternalTrigConv = ADC_SOFTWARE_START;
  hadc3.Init.ExternalTrigConvEdge = ADC_EXTERNALTRIGCONVEDGE_NONE;
  hadc3.Init.DMAContinuousRequests = DISABLE;
  hadc3.Init.Overrun = ADC_OVR_DATA_PRESERVED;
  hadc3.Init.OversamplingMode = DISABLE;
  if (HAL_ADC_Init(&hadc3) != HAL_OK)
  {
    Error_Handler();
  }

  /** Configure the ADC multi-mode
  */
  multimode.Mode = ADC_MODE_INDEPENDENT;
  if (HAL_ADCEx_MultiModeConfigChannel(&hadc3, &multimode) != HAL_OK)
  {
    Error_Handler();
  }

  /** Configure Regular Channel
  */
  sConfig.Channel = ADC_CHANNEL_2;
  sConfig.Rank = ADC_REGULAR_RANK_1;
  sConfig.SamplingTime = ADC_SAMPLETIME_2CYCLES_5;
  sConfig.SingleDiff = ADC_SINGLE_ENDED;
  sConfig.OffsetNumber = ADC_OFFSET_NONE;
  sConfig.Offset = 0;
  if (HAL_ADC_ConfigChannel(&hadc3, &sConfig) != HAL_OK)
  {
    Error_Handler();
  }

}

static void MX_ADC4_Init(void)
{

  ADC_ChannelConfTypeDef sConfig = {0};

  /** Common config
  */
  hadc4.Instance = ADC4;
  hadc4.Init.ClockPrescaler = ADC_CLOCK_SYNC_PCLK_DIV2;
  hadc4.Init.Resolution = ADC_RESOLUTION_12B;
  hadc4.Init.DataAlign = ADC_DATAALIGN_RIGHT;
  hadc4.Init.GainCompensation = 0;
  hadc4.Init.ScanConvMode = ADC_SCAN_DISABLE;
  hadc4.Init.EOCSelection = ADC_EOC_SINGLE_CONV;
  hadc4.Init.LowPowerAutoWait = DISABLE;
  hadc4.Init.ContinuousConvMode = DISABLE;
  hadc4.Init.NbrOfConversion = 1;
  hadc4.Init.DiscontinuousConvMode = DISABLE;
  hadc4.Init.ExternalTrigConv = ADC_SOFTWARE_START;
  hadc4.Init.ExternalTrigConvEdge = ADC_EXTERNALTRIGCONVEDGE_NONE;
  hadc4.Init.DMAContinuousRequests = DISABLE;
  hadc4.Init.Overrun = ADC_OVR_DATA_PRESERVED;
  hadc4.Init.OversamplingMode = DISABLE;
  if (HAL_ADC_Init(&hadc4) != HAL_OK)
  {
    Error_Handler();
  }

  /** Configure Regular Channel
  */
  sConfig.Channel = ADC_CHANNEL_1;
  sConfig.Rank = ADC_REGULAR_RANK_1;
  sConfig.SamplingTime = ADC_SAMPLETIME_2CYCLES_5;
  sConfig.SingleDiff = ADC_DIFFERENTIAL_ENDED;
  sConfig.OffsetNumber = ADC_OFFSET_NONE;
  sConfig.Offset = 0;
  if (HAL_ADC_ConfigChannel(&hadc4, &sConfig) != HAL_OK)
  {
    Error_Handler();
  }

}

static void MX_ADC5_Init(void)
{

  ADC_ChannelConfTypeDef sConfig = {0};

  /** Common config
  */
  hadc5.Instance = ADC5;
  hadc5.Init.ClockPrescaler = ADC_CLOCK_SYNC_PCLK_DIV2;
  hadc5.Init.Resolution = ADC_RESOLUTION_12B;
  hadc5.Init.DataAlign = ADC_DATAALIGN_RIGHT;
  hadc5.Init.GainCompensation = 0;
  hadc5.Init.ScanConvMode = ADC_SCAN_DISABLE;
  hadc5.Init.EOCSelection = ADC_EOC_SINGLE_CONV;
  hadc5.Init.LowPowerAutoWait = DISABLE;
  hadc5.Init.ContinuousConvMode = DISABLE;
  hadc5.Init.NbrOfConversion = 1;
  hadc5.Init.DiscontinuousConvMode = DISABLE;
  hadc5.Init.ExternalTrigConv = ADC_SOFTWARE_START;
  hadc5.Init.ExternalTrigConvEdge = ADC_EXTERNALTRIGCONVEDGE_NONE;
  hadc5.Init.DMAContinuousRequests = DISABLE;
  hadc5.Init.Overrun = ADC_OVR_DATA_PRESERVED;
  hadc5.Init.OversamplingMode = DISABLE;
  if (HAL_ADC_Init(&hadc5) != HAL_OK)
  {
    Error_Handler();
  }

  /** Configure Regular Channel
  */
  sConfig.Channel = ADC_CHANNEL_6;
  sConfig.Rank = ADC_REGULAR_RANK_1;
  sConfig.SamplingTime = ADC_SAMPLETIME_2CYCLES_5;
  sConfig.SingleDiff = ADC_SINGLE_ENDED;
  sConfig.OffsetNumber = ADC_OFFSET_NONE;
  sConfig.Offset = 0;
  if (HAL_ADC_ConfigChannel(&hadc5, &sConfig) != HAL_OK)
  {
    Error_Handler();
  }

}

static void MX_I2C3_Init(void)
{

  hi2c3.Instance = I2C3;
  hi2c3.Init.Timing = 0x00300617;
  hi2c3.Init.OwnAddress1 = 0;
  hi2c3.Init.AddressingMode = I2C_ADDRESSINGMODE_7BIT;
  hi2c3.Init.DualAddressMode = I2C_DUALADDRESS_DISABLE;
  hi2c3.Init.OwnAddress2 = 0;
  hi2c3.Init.OwnAddress2Masks = I2C_OA2_NOMASK;
  hi2c3.Init.GeneralCallMode = I2C_GENERALCALL_DISABLE;
  hi2c3.Init.NoStretchMode = I2C_NOSTRETCH_DISABLE;
  if (HAL_I2C_Init(&hi2c3) != HAL_OK)
  {
    Error_Handler();
  }

  /** Configure Analogue filter
  */
  if (HAL_I2CEx_ConfigAnalogFilter(&hi2c3, I2C_ANALOGFILTER_ENABLE) != HAL_OK)
  {
    Error_Handler();
  }

  /** Configure Digital filter
  */
  if (HAL_I2CEx_ConfigDigitalFilter(&hi2c3, 0) != HAL_OK)
  {
    Error_Handler();
  }

}

static void MX_GPIO_Init(void)
{
  GPIO_InitTypeDef GPIO_InitStruct = {0};

  /* GPIO Ports Clock Enable */
  __HAL_RCC_GPIOE_CLK_ENABLE();
  __HAL_RCC_GPIOF_CLK_ENABLE();
  __HAL_RCC_GPIOG_CLK_ENABLE();
  __HAL_RCC_GPIOC_CLK_ENABLE();
  __HAL_RCC_GPIOA_CLK_ENABLE();
  __HAL_RCC_GPIOB_CLK_ENABLE();

  /*Configure GPIO pin Output Level */
  HAL_GPIO_WritePin(GPIOE, GPIO_PIN_2|GPIO_PIN_3, GPIO_PIN_RESET);

  /*Configure GPIO pin Output Level */
  HAL_GPIO_WritePin(GPIOC, GPIO_PIN_0, GPIO_PIN_RESET);

  /*Configure GPIO pin Output Level */
  HAL_GPIO_WritePin(GPIOA, GPIO_PIN_3, GPIO_PIN_RESET);

  /*Configure GPIO pins : PE2 PE3 */
  GPIO_InitStruct.Pin = GPIO_PIN_2|GPIO_PIN_3;
  GPIO_InitStruct.Mode = GPIO_MODE_OUTPUT_PP;
  GPIO_InitStruct.Pull = GPIO_NOPULL;
  GPIO_InitStruct.Speed = GPIO_SPEED_FREQ_LOW;
  HAL_GPIO_Init(GPIOE, &GPIO_InitStruct);

  /*Configure GPIO pin : PG10 */
  GPIO_InitStruct.Pin = GPIO_PIN_10;
  GPIO_InitStruct.Mode = GPIO_MODE_AF_PP;
  GPIO_InitStruct.Pull = GPIO_NOPULL;
  GPIO_InitStruct.Speed = GPIO_SPEED_FREQ_LOW;
  GPIO_InitStruct.Alternate = GPIO_AF15_EVENTOUT;
  HAL_GPIO_Init(GPIOG, &GPIO_InitStruct);

  /*Configure GPIO pin : PC0 */
  GPIO_InitStruct.Pin = GPIO_PIN_0;
  GPIO_InitStruct.Mode = GPIO_MODE_OUTPUT_PP;
  GPIO_InitStruct.Pull = GPIO_NOPULL;
  GPIO_InitStruct.Speed = GPIO_SPEED_FREQ_LOW;
  HAL_GPIO_Init(GPIOC, &GPIO_InitStruct);

  /*Configure GPIO pin : PA3 */
  GPIO_InitStruct.Pin = GPIO_PIN_3;
  GPIO_InitStruct.Mode = GPIO_MODE_OUTPUT_PP;
  GPIO_InitStruct.Pull = GPIO_NOPULL;
  GPIO_InitStruct.Speed = GPIO_SPEED_FREQ_LOW;
  HAL_GPIO_Init(GPIOA, &GPIO_InitStruct);

  /*Configure GPIO pin : PC5 */
  GPIO_InitStruct.Pin = GPIO_PIN_5;
  GPIO_InitStruct.Mode = GPIO_MODE_IT_FALLING;
  GPIO_InitStruct.Pull = GPIO_PULLUP;
  HAL_GPIO_Init(GPIOC, &GPIO_InitStruct);

  /*Configure GPIO pin : PB0 */
  GPIO_InitStruct.Pin = GPIO_PIN_0;
  GPIO_InitStruct.Mode = GPIO_MODE_IT_FALLING;
  GPIO_InitStruct.Pull = GPIO_PULLUP;
  HAL_GPIO_Init(GPIOB, &GPIO_InitStruct);

  /*Configure GPIO pins : TPS26750_1_Pin TPS26750_2_Pin */
  GPIO_InitStruct.Pin = TPS26750_1_Pin|TPS26750_2_Pin;
  GPIO_InitStruct.Mode = GPIO_MODE_IT_FALLING;
  GPIO_InitStruct.Pull = GPIO_PULLUP;
  HAL_GPIO_Init(GPIOA, &GPIO_InitStruct);

  /*Configure GPIO pin : PB8 */
  GPIO_InitStruct.Pin = GPIO_PIN_8;
  GPIO_InitStruct.Mode = GPIO_MODE_AF_PP;
  GPIO_InitStruct.Pull = GPIO_NOPULL;
  GPIO_InitStruct.Speed = GPIO_SPEED_FREQ_LOW;
  GPIO_InitStruct.Alternate = GPIO_AF15_EVENTOUT;
  HAL_GPIO_Init(GPIOB, &GPIO_InitStruct);

  /* EXTI interrupt init*/
  HAL_NVIC_SetPriority(EXTI0_IRQn, 0, 0);
  HAL_NVIC_EnableIRQ(EXTI0_IRQn);

  HAL_NVIC_SetPriority(EXTI9_5_IRQn, 0, 0);
  HAL_NVIC_EnableIRQ(EXTI9_5_IRQn);

  HAL_NVIC_SetPriority(EXTI15_10_IRQn, 0, 0);
  HAL_NVIC_EnableIRQ(EXTI15_10_IRQn);

}

void Error_Handler(void)
{
 __disable_irq();
  while (1)
  {
  }
}
